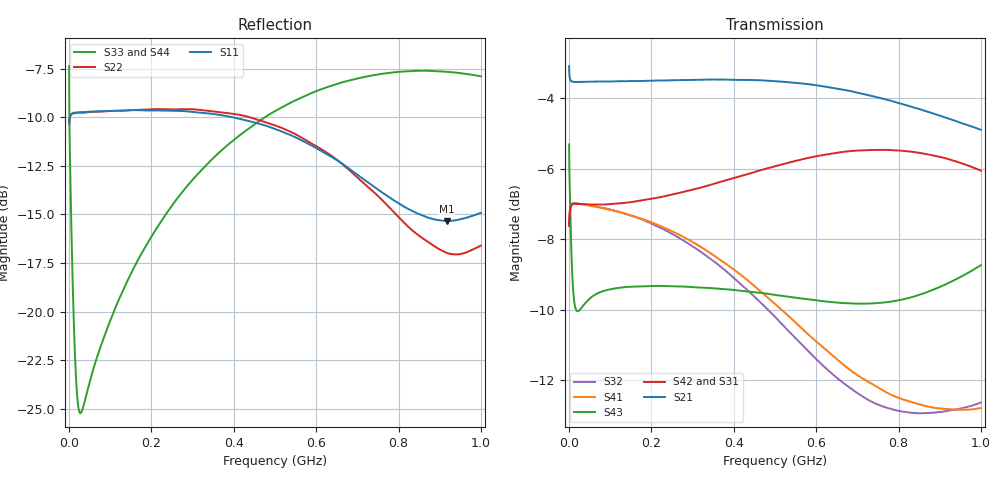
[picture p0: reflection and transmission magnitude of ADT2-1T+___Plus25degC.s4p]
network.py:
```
"""Connect EM PCB terminals to independently specified component/fixture blocks."""
from pathlib import Path
import json
import numpy as np
import skrf as rf

HERE = Path(__file__).resolve().parent
C0 = 299792458.0


def eliminate(s, kept, gamma):
    """Load the remaining terminals with b_load=gamma*a_load (all Zref=50)."""
    other = [i for i in range(s.shape[-1]) if i not in kept]
    aa = s[:, kept][:, :, kept]
    al = s[:, kept][:, :, other]
    la = s[:, other][:, :, kept]
    ll = s[:, other][:, :, other]
    return aa + al @ gamma @ np.linalg.solve(np.eye(len(other))-ll @ gamma, la)


def floating_branch(z):
    """Two-terminal floating impedance, referenced to 50 ohms at each end."""
    z = np.asarray(z, dtype=complex)
    diagonal, cross = z/(z+100), 100/(z+100)
    result = np.empty((*z.shape, 2, 2), dtype=complex)
    result[..., 0, 0] = result[..., 1, 1] = diagonal
    result[..., 0, 1] = result[..., 1, 0] = cross
    return result


def balun(frequency):
    source = rf.Network(str(HERE/'input/ADT2-1T+___Plus25degC.s4p'))
    sampled = source.interpolate(rf.Frequency.from_f(frequency, unit='Hz'))
    # Keep physical pins [3,4,6], short pin 1 to the ideal reference.
    grounded = eliminate(sampled.s, [1, 3, 2], np.full((len(frequency), 1, 1), -1, dtype=complex))
    transform = np.array([[1, 0, 0], [0, 1/np.sqrt(2), -1/np.sqrt(2)],
                          [0, 1/np.sqrt(2), 1/np.sqrt(2)]])
    modal = transform @ grounded @ transform.T
    balanced = np.zeros_like(modal)
    balanced[:, :2, :2] = modal[:, :2, :2]
    balanced[:, 2, 2] = 1
    return transform.T @ balanced @ transform, modal


def fixture(frequency, mode, parameters):
    p = parameters
    omega = 2*np.pi*frequency
    count = len(frequency)
    jack_delay = p['rj45']['jack_contact_path_mm']*1e-3/(C0*p['rj45']['velocity_factor'])
    delay = np.full(8, jack_delay)
    load = np.broadcast_to(np.eye(8, dtype=complex), (count, 8, 8)).copy()
    if mode in ['match', 'loopback']:
        delay += p['plug']['internal_path_mm']*1e-3/(C0*p['plug']['internal_velocity_factor'])
    if mode == 'match':
        q = p['plug']['matched_pair']
        delay[:2] += q['external_path_per_leg_mm']*1e-3/(C0*q['external_velocity_factor'])
        resistance = q['resistance_ohm']
        capacitor = q['parallel_capacitance_pf']*1e-12
        z = 1/(1/resistance+1j*omega*capacitor)+1j*omega*q['series_inductance_nh']*1e-9
        load[:, :2, :2] = floating_branch(z)
    elif mode == 'loopback':
        q = p['plug']['loopback']
        for a, b in q['connections']:
            ia, ib = a-1, b-1
            delay[[ia, ib]] += q['external_path_per_leg_mm']*1e-3/(C0*q['external_velocity_factor'])
            z = q['series_resistance_per_join_ohm']+1j*omega*q['series_inductance_per_join_nh']*1e-9
            block = floating_branch(z)
            load[:, ia, ia] = block[:, 0, 0]
            load[:, ib, ib] = block[:, 1, 1]
            load[:, ia, ib] = block[:, 0, 1]
            load[:, ib, ia] = block[:, 1, 0]
    elif mode != 'open':
        raise ValueError(mode)
    travel = np.exp(-1j*omega[:, None]*delay)
    return travel[:, :, None]*load*travel[:, None, :]


def assembled(pcb_s, frequency, mode, parameters):
    gamma = np.zeros((len(frequency), 20, 20), dtype=complex)
    component, _ = balun(frequency)
    for i in range(4):
        gamma[:, i*3:i*3+3, i*3:i*3+3] = component
    gamma[:, 12:, 12:] = fixture(frequency, mode, parameters)
    result = eliminate(pcb_s, [0, 1, 2, 3], gamma)
    sma = parameters['sma']
    delay = sma['nominal_length_mm']*1e-3/(C0*sma['velocity_factor'])
    return result*np.exp(-2j*2*np.pi*frequency[:, None, None]*delay)


def self_checks():
    frequency = np.array([1e6, 100e6, 200e6])
    branch = floating_branch(np.full(3, 100.0))
    np.testing.assert_allclose(branch, np.full((3, 2, 2), .5))
    np.testing.assert_allclose(floating_branch(np.zeros(3)), np.tile([[0, 1], [1, 0]], (3, 1, 1)))
    for reflection in [0, 1, -1, .3+.1j]:
        phase = np.exp(-1j*2*np.pi*frequency*1e-9)
        s = np.zeros((3, 2, 2), complex)
        s[:, 0, 1] = s[:, 1, 0] = phase
        gamma = np.full((3, 1, 1), reflection, complex)
        np.testing.assert_allclose(eliminate(s, [0], gamma)[:, 0, 0], reflection*phase**2)
    # An ideal 50-to-100-ohm balun must match a floating 100-ohm load.
    u = np.array([[1, 0, 0], [0, 1/np.sqrt(2), -1/np.sqrt(2)], [0, 1/np.sqrt(2), 1/np.sqrt(2)]])
    modal = np.array([[0, 1, 0], [1, 0, 0], [0, 0, 1]])
    ideal = np.broadcast_to(u.T @ modal @ u, (3, 3, 3))
    np.testing.assert_allclose(eliminate(ideal, [0], branch), 0, atol=1e-12)
    parameters = json.loads((HERE/'electrical-assumptions.json').read_text())
    for mode in ['open', 'match', 'loopback']:
        term = fixture(frequency, mode, parameters)
        np.testing.assert_allclose(term, term.transpose(0, 2, 1), atol=1e-12)
        assert np.linalg.svd(term, compute_uv=False).max() <= 1+1e-12
    component, _ = balun(frequency)
    assert np.linalg.svd(component, compute_uv=False).max() <= 1.001
    print(json.dumps({'analytical_load_and_delay_checks': 'passed', 'fixture_passivity_and_reciprocity': 'passed',
                      'vendor_differential_block_max_singular_value': float(np.linalg.svd(component, compute_uv=False).max())}))


if __name__ == '__main__':
    self_checks()
```
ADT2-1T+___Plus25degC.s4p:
!ADT2-1T+, Minicircuits Lab
!part is from MI96980
!Date: Tuesday, June 26, 2007 14:59:50
!Port 1: pin 1, port 2: pin 3, port 3: pin 6 and port 4: pin 4
# Hz S  dB  R 50
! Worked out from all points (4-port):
!   1601 points, 300 kHz to 1 GHz, reference 50 ohm
!   strongest paths, dB at 300 kHz, 250.2 MHz, 500.1 MHz, 750.1 MHz, 1 GHz:
!     S21: -3.1, -3.5, -3.5, -4.0, -4.9
!     S42: -7.6, -6.7, -5.9, -5.5, -6.1
!     S31: -7.5, -6.7, -6.0, -5.6, -6.4
!     S43: -5.3, -9.3, -9.6, -9.8, -8.7
!     S41: -7.6, -7.8, -9.8, -12.2, -12.8
!     S32: -7.5, -7.8, -10.2, -12.7, -12.6
!   lowest |S11| = -15.3 dB at 917.5 MHz (marker M1), VSWR 1.41, Z = 70.6 - j0.016 ohm
!   |S11| at or under -10 dB: start of sweep to 1.966 MHz; 398.5 MHz to end of sweep
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300000  -10.33 13.1  -3.10 -5.9  -7.54 -169.3  -7.63 10.9
        -3.08 -6.3  -10.31 13.7  -7.55 10.4  -7.65 -169.4
        -7.51 -169.2  -7.50 10.7  -7.36 150.5  -5.30 -175.7
        -7.62 10.6  -7.62 -169.4  -5.31 -176.0  -7.12 151.7
9.175248e8  -15.34 -0.0  -4.55 -96.7  -6.01 94.3  -12.82 -10.4
            -4.56 -96.7  -16.98 -2.1  -12.88 -6.3  -5.72 98.4
            -6.00 94.4  -12.88 -6.2  -7.65 2.8  -9.26 107.4
            -12.83 -10.2  -5.71 98.5  -9.27 107.5  -7.84 9.0
1e9  -14.92 9.6  -4.88 -106.3  -6.39 85.0  -12.79 -4.8
     -4.89 -106.3  -16.61 12.9  -12.63 -1.1  -6.05 89.2
     -6.40 85.1  -12.64 -1.1  -7.89 -7.4  -8.74 102.5
     -12.80 -4.7  -6.05 89.3  -8.74 102.5  -8.04 -1.3
